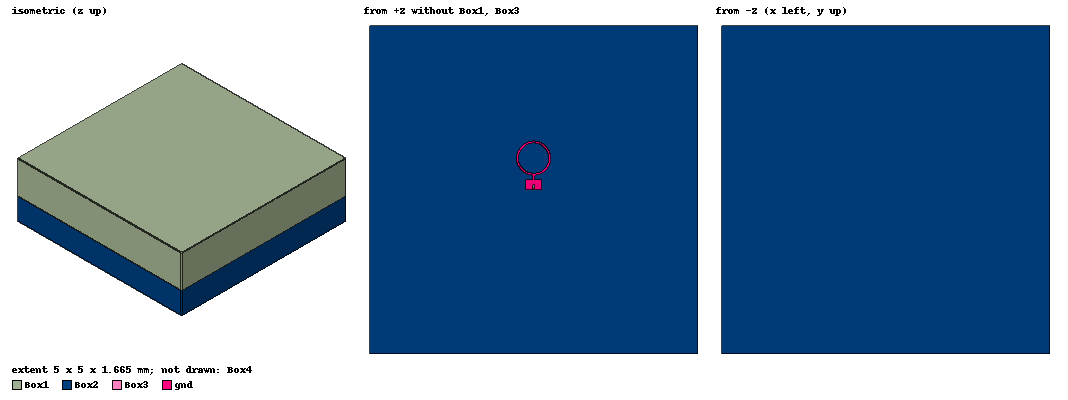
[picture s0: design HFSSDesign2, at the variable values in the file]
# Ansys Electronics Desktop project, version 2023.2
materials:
  vacuum: permittivity=1
  Arlon CLTE-XT (tm): permittivity=2.94 dielectric_loss_tangent=0.0012
  silicon: permittivity=11.9
  silicon_dioxide: permittivity=4
  air: permittivity=1.0006 permeability=1.0000004

design HFSSDesign2 (HFSS, HFSS Terminal Network, model units mm)
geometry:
  gnd = rectangle(corner=((-0.24/2) mm, 0mm, 0mm), x_size=0.24mm, y_size=0.15mm)
  element_to_subtract = rectangle(corner=((-0.04/2) mm, 0.02mm, 0mm), x_size=0.04mm, y_size=0.13mm)
  gnd.subtract(element_to_subtract)
  array_support = rectangle(corner=((-0.03/2) mm, 0.02mm, 0mm), x_size=0.03mm, y_size=0.2mm)
  array_antenna_circle = circle(normal=Z, centre=(0mm, 0.48mm, 0mm), radius=0.26mm)
  array_antenna_circle1 = circle(normal=Z, centre=(0mm, 0.48mm, 0mm), radius=0.23mm)
  array_antenna_circle.subtract(array_antenna_circle1)
  gnd.unite(array_support, array_antenna_circle)
  Port = rectangle(corner=(-0.015mm, 0.02mm, 0mm), x_size=0.03mm, y_size=0.05mm)
  Box1 [Arlon CLTE-XT (tm)] = box(corner=(-2.5mm, -2.5mm, 1.001mm), size=(5mm, 5mm, -1.665mm))
  Box2 [silicon] = box(corner=(-2.5mm, -2.5mm, -0.001mm), size=(5mm, 5mm, -0.663mm))
  Box3 [silicon_dioxide] = box(corner=((-5/2) mm, (-5/2) mm, (-0.002/2) mm), size=(5mm, 5mm, 0.002mm))
  Box4 [air] = box(corner=(-3mm, -3mm, -1.5mm), size=(6mm, 6mm, 4mm))
  coordinate_system RelativeCS1 = origin=(0mm, 0mm, 100mm) x=(1mm, 0mm, 0mm) y=(0mm, 1mm, 0mm)
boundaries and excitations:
  PerfE1: Perfect E Objects=gnd
  Rad1: Radiation Objects=Box4
  1: Lumped Port Objects=Port LumpedPortType=Modal Modes{Mode1{IntLine{(0, 0.07, 0) -> (0, 0.02, 0)} CharImp=Zpi RenormImp=50ohm}} Impedance=50ohm
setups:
  Setup1: HfssDriven Frequency=60GHz MaxDeltaS=0.02 MaximumPasses=6 MinimumPasses=1 MinimumConvergedPasses=1 PercentRefinement=30 BasisOrder=1 PortAccuracy=2 DrivenSolverType="Direct Solver"
    sweep Sweep: 30GHz to 90GHz, 401 points; Type=Discrete SaveFields SaveRadFields
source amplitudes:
  1:1: 1V 0deg
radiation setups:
  Infinite Sphere1: Infinite Sphere Theta=0deg..180deg step 10deg Phi=0deg..360deg step 10deg
  Rectangle1: Near Rectangle  Length=100dm Width=100dm LengthSamples=100 WidthSamples=100 CoordSystem=Global
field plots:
  Mag_E1: E Field over gnd.face(all 2) on Setup1 : LastAdaptive at Freq=60GHz Phase=0deg
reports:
  S Parameter While Packing: dB(S(1,1)) vs Freq on Setup1 : Sweep; markers m1 at 58.05GHz
  Gain Plot: dB(GainTotal) vs Freq on Setup1 : Sweep, Infinite Sphere1 [Phi=0deg Theta=0deg]; markers m1 at 60GHz
  3-d Gain Plot: dB(GainTotal) vs Phi, Theta on Setup1 : LastAdaptive, Infinite Sphere1 [Freq=60GHz]
  Radiation Plot thetha = 0': dB(GainTotal) vs Phi on Setup1 : LastAdaptive, Infinite Sphere1 [Theta=0deg Freq=60GHz]; markers m1 at 360deg, m2 at 90deg, m3 at 180deg, m4 at 270deg
  Radiation Plot thetha = '90': dB(GainTotal) vs Phi on Setup1 : LastAdaptive, Infinite Sphere1 [Theta=90deg Freq=60GHz]; markers m1 at 50deg, m2 at 130deg, m3 at 270deg, m4 at 310deg, m5 at 220deg
  Near Poynting Plot 1: dB(NearPoyntingTotal) vs _u, _v on Setup1 : LastAdaptive [Freq=60GHz]
  Power Plot on Plane z =10 cm: dB(NearPoyntingTotal)*0.000025 vs _u, _v on Setup1 : LastAdaptive [Freq=60GHz]
